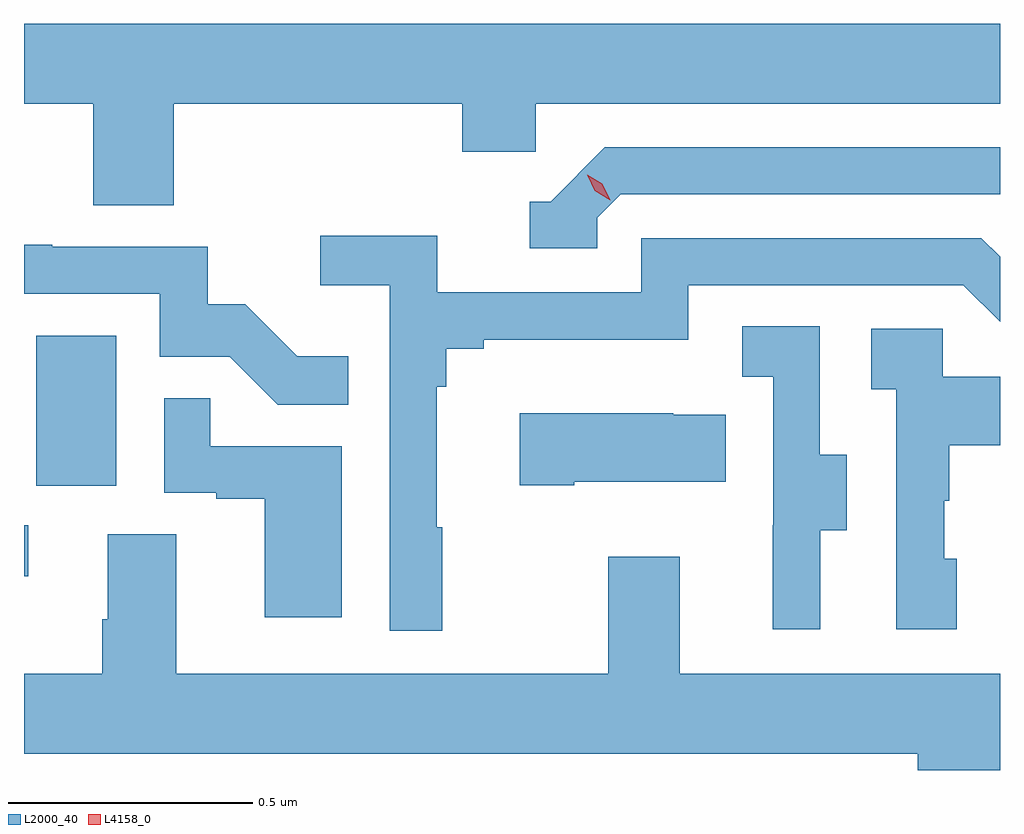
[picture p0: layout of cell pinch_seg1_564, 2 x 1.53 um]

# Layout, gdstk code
import gdstk
lib = gdstk.Library(unit=1e-6, precision=1e-09)
def R(c, l, rs):  # rectangles x0, y0, x1, y1
    for r in rs: c.add(gdstk.rectangle(r[:2], r[2:], *l))
def P(c, l, *ps):  # polygons
    for p in ps: c.add(gdstk.Polygon(p, *l))
L2000_40 = (2000, 40)
L4158_0 = (4158, 0)

pinch_seg1_564 = lib.new_cell('pinch_seg1_564')
R(pinch_seg1_564, L2000_40, [(1025.323,532.116,1025.332,532.221), (1025.348,532.302,1025.512,532.609)])
P(pinch_seg1_564, L2000_40, [(1025.63,533.084),(1026.221,533.084),(1026.221,532.986),(1026.372,532.986),(1026.372,533.084),(1027.323,533.084),(1027.323,533.248),(1025.323,533.248),(1025.323,533.084),(1025.465,533.084),(1025.465,532.876),(1025.63,532.876)],
  [(1026.498,532.851),(1026.546,532.899),(1027.323,532.899),(1027.323,532.995),(1026.513,532.995),(1026.402,532.884),(1026.359,532.884),(1026.359,532.788),(1026.498,532.788)],
  [(1026.18,532.217),(1026.169,532.217),(1026.169,532.505),(1026.188,532.505),(1026.188,532.582),(1026.265,532.582),(1026.265,532.601),(1026.684,532.601),(1026.684,532.713),(1027.248,532.713),(1027.323,532.638),(1027.323,532.771),(1027.285,532.809),(1026.588,532.809),(1026.588,532.698),(1026.17,532.698),(1026.17,532.814),(1025.93,532.814),(1025.93,532.712),(1026.072,532.712),(1026.072,532.005),(1026.18,532.005)],
  [(1025.987,532.567),(1025.883,532.567),(1025.776,532.674),(1025.7,532.674),(1025.7,532.791),(1025.381,532.791),(1025.381,532.796),(1025.323,532.796),(1025.323,532.695),(1025.601,532.695),(1025.601,532.566),(1025.745,532.566),(1025.843,532.468),(1025.987,532.468)],
  [(1026.955,532.21),(1027.009,532.21),(1027.009,532.365),(1026.954,532.365),(1026.954,532.628),(1026.795,532.628),(1026.795,532.525),(1026.858,532.525),(1026.858,532.221),(1026.857,532.221),(1026.857,532.008),(1026.955,532.008)],
  [(1027.234,532.152),(1027.209,532.152),(1027.209,532.271),(1027.219,532.271),(1027.219,532.385),(1027.323,532.385),(1027.323,532.525),(1027.206,532.525),(1027.206,532.623),(1027.059,532.623),(1027.059,532.499),(1027.11,532.499),(1027.11,532.008),(1027.234,532.008)],
  [(1025.974,532.383),(1025.705,532.383),(1025.705,532.481),(1025.61,532.481),(1025.61,532.287),(1025.717,532.287),(1025.717,532.275),(1025.816,532.275),(1025.816,532.032),(1025.974,532.032)],
  [(1026.451,532.31),(1026.761,532.31),(1026.761,532.447),(1026.653,532.447),(1026.653,532.45),(1026.339,532.45),(1026.339,532.303),(1026.451,532.303)],
  [(1027.323,531.916),(1026.667,531.916),(1026.667,532.156),(1026.52,532.156),(1026.52,531.916),(1025.635,531.916),(1025.635,532.202),(1025.495,532.202),(1025.495,532.028),(1025.483,532.028),(1025.483,531.916),(1025.323,531.916),(1025.323,531.752),(1027.154,531.752),(1027.154,531.719),(1027.323,531.719)])
P(pinch_seg1_564, L4158_0, [(1026.524,532.887),(1026.493,532.906),(1026.477,532.939),(1026.477,532.939),(1026.477,532.939),(1026.508,532.92),(1026.524,532.887),(1026.524,532.887)])

lib.write_gds('pinch_seg1_564.gds')
